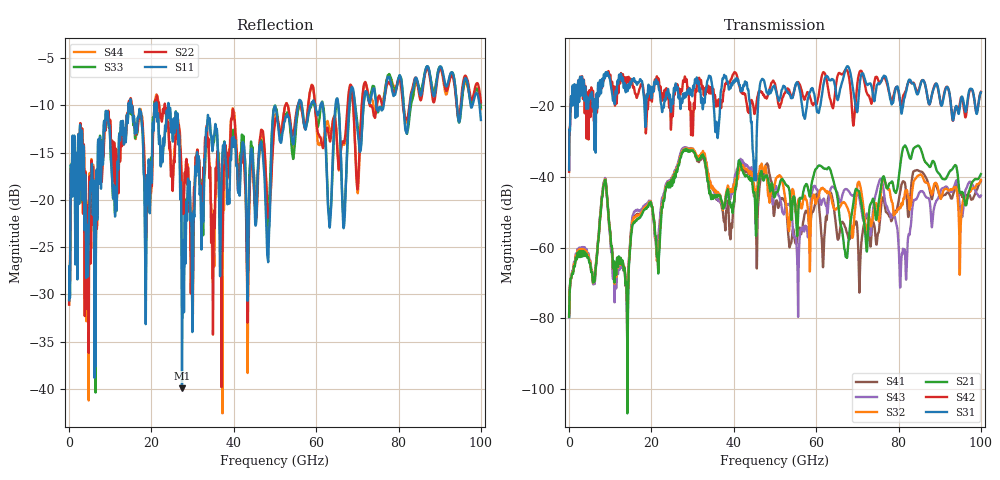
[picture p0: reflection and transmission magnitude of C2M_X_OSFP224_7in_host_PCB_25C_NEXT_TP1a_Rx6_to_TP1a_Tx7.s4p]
# GHz S RI R 45
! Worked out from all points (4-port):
!   4000 points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, 25 MHz to 100 GHz, reference 45 ohm
!   strongest paths, dB at 25 MHz, 25.02 GHz, 50.02 GHz, 75.03 GHz, 100 GHz:
!     S31: -38.1, -18.2, -14.9, -13.6, -16.1
!     S42: -38.6, -21.8, -13.7, -12.6, -15.9
!     S21: -79.6, -42.6, -45.5, -48.8, -39.2
!     S32: -78.7, -41.7, -41.7, -50.5, -40.9
!     S43: -79.8, -41.0, -43.2, -42.4, -45.3
!     S41: -79.3, -42.1, -47.9, -56.0, -41.2
!   lowest |S11| = -40.0 dB at 27.43 GHz (marker M1), VSWR 1.02, Z = 44.2 - j0.387 ohm
!   |S11| at or under -10 dB: start of sweep to 14.42 GHz; 15.02 GHz to 20.73 GHz (5.712 GHz wide, 32 % of centre); 24.19 GHz to 55.61 GHz (31.42 GHz wide, 78.7 % of centre) (the widest 3 of 16)
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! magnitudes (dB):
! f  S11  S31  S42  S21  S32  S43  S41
! 25 MHz  -30.6  -38.1  -38.6  -79.6  -78.7  -79.8  -79.3
! 8.575 GHz  -11.8  -11.3  -11.8  -42.0  -41.7  -41.4  -41.7
! 27.43 GHz  -40.0  -18.6  -15.7  -33.1  -32.8  -32.1  -32.6
! 42.83 GHz  -17.0  -13.3  -16.9  -39.9  -37.9  -36.6  -38.3
! 45.02 GHz  -20.2  -41.0  -22.2  -44.6  -43.0  -44.7  -44.7
! 55.48 GHz  -10.3  -13.4  -13.3  -54.9  -48.0  -66.4  -56.4
! 100 GHz  -11.6  -16.1  -15.9  -39.2  -40.9  -45.3  -41.2
